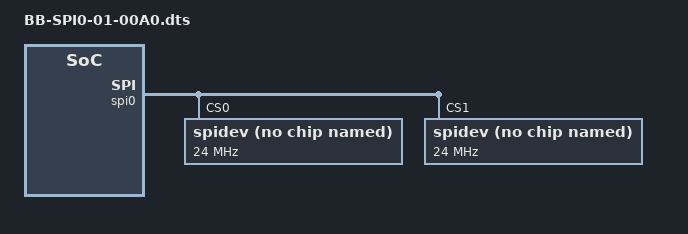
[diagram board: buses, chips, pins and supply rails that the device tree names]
/dts-v1/;
/plugin/;

/ {
	compatible = "ti,beaglebone", "ti,beaglebone-black", "ti,beaglebone-green";
    /* identification */
	part-number = "BB-SPI0";
	version = "00A0";
	exclusive-use = "P9.17", "P9.18", "P9.21", "P9.22", "spi0";

	fragment@0 {
		target = <&am33xx_pinmux>;

		__overlay__ {

			pinmux_spi0_pins: pinmux_spi0_pins {
				pinctrl-single,pins = <
					0x150 0x30  /* spi0_sclk, INPUT_PULLUP  | MODE0 */
					0x154 0x30  /* spi0_d0,   INPUT_PULLUP  | MODE0 */
					0x158 0x10  /* spi0_d1,   OUTPUT_PULLUP | MODE0 */
					0x15c 0x10  /* spi0_cs0,  OUTPUT_PULLUP | MODE0 */
				>;
				linux,phandle = <0x1>;
				phandle = <0x1>;
			};
		};
	};

	fragment@1 {
		target = <&spi0>;

		__overlay__ {
			#address-cells = <0x1>;
			#size-cells = <0x0>;
			status = "okay";
			pinctrl-names = "default";
			pinctrl-0 = <&pinmux_spi0_pins>;
			ti,pio-mode;

			spidev@0 {
				#address-cells = <0x1>;
				#size-cells = <0x0>;
				compatible = "spidev";
				reg = <0x0>;
				spi-max-frequency = <24000000>;
				spi-cpha;
			};

			spidev@1 {
				#address-cells = <0x1>;
				#size-cells = <0x0>;
				compatible = "spidev";
				reg = <0x1>;
				spi-max-frequency = <24000000>;
			};
		};
	};

	__symbols__ {
		bb_spi0_pins = "/fragment@0/__overlay__/pinmux_spi0_pins";
	};

	__local_fixups__ {

		fragment@1 {

			__overlay__ {
				pinctrl-0 = <0x0>;
			};
		};
	};

	__fixups__ {
		am33xx_pinmux = "/fragment@0:target:0";
		dcan1 = "/fragment@1:target:0";
	};
};
